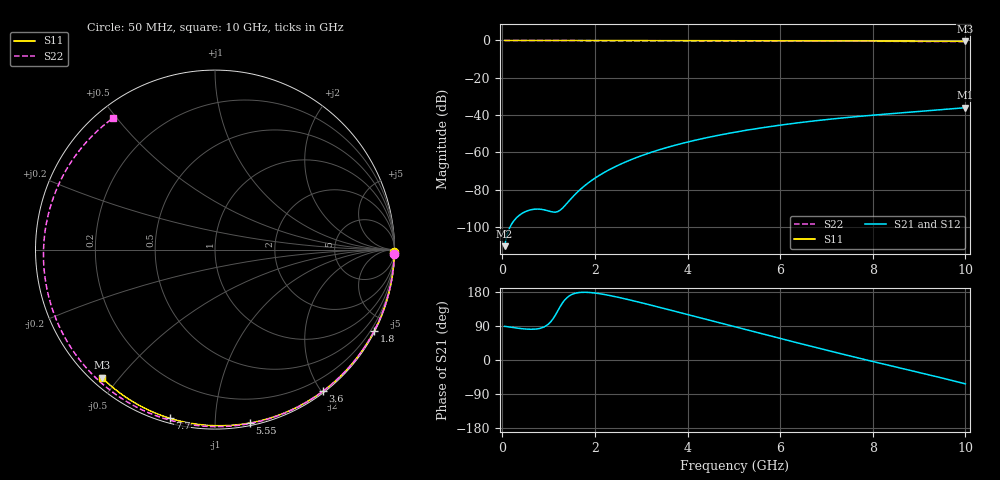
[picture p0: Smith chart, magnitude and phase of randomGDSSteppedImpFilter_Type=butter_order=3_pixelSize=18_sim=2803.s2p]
! freq	dB(S11)	phase(S11)	dB(S12)	phase(S12)
!  dB(S21)	phase(S21)	dB(S22)	phase(S22)
!S-par simulation data
#  GHz  S  DB  R 50
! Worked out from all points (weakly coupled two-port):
!   200 points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, 50 MHz to 10 GHz, reference 50 ohm
!   highest |S21| = -36.09 dB at 10 GHz (marker M1); lowest = -110.4 dB at 50 MHz (marker M2)
!   lowest |S11| = -0.4 dB at 10 GHz (marker M3), VSWR 40.22, Z = 1.5 - j22.5 ohm
!   |S11| at or under -10 dB: nowhere
!   |S22| runs from -0.7 to 0.0 dB; largest |S21 - S12| = 0
!   S11 on the Smith chart (normalised r, x): 50 MHz: open; 1.8 GHz: 0.04, -4.17; 3.6 GHz: 0.02, -2.02; 5.55 GHz: 0.02, -1.22; 7.7 GHz: 0.02, -0.77; 10 GHz: 0.03, -0.45
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0.05  -0.00 -0.8  -110.41 88.9  -110.41 88.9  -0.00 -1.3
0.8  -0.02 -12.1  -90.54 83.1  -90.54 83.1  -0.03 -20.8
1.65  -0.03 -24.7  -80.75 177.9  -80.75 177.9  -0.05 -42.4
1.7  -0.03 -25.5  -79.62 178.5  -79.62 178.5  -0.06 -43.6
1.75  -0.03 -26.2  -78.55 178.7  -78.55 178.7  -0.06 -44.9
1.8  -0.03 -27.0  -77.54 178.7  -77.54 178.7  -0.06 -46.1
2.1  -0.04 -31.3  -72.34 175.0  -72.34 175.0  -0.07 -53.5
2.5  -0.05 -37.1  -67.02 165.6  -67.02 165.6  -0.08 -63.2
2.9  -0.06 -42.9  -62.82 154.2  -62.82 154.2  -0.09 -72.6
3.4  -0.07 -49.9  -58.59 138.9  -58.59 138.9  -0.11 -84.2
3.6  -0.07 -52.7  -57.13 132.6  -57.13 132.6  -0.12 -88.7
4.3  -0.09 -62.3  -52.80 110.4  -52.80 110.4  -0.14 -104.2
5.05  -0.11 -72.2  -49.13 86.7  -49.13 86.7  -0.18 -120.3
5.55  -0.13 -78.7  -47.08 71.0  -47.08 71.0  -0.21 -130.9
6.15  -0.15 -86.3  -44.96 52.2  -44.96 52.2  -0.25 -143.4
6.7  -0.18 -93.1  -43.28 35.2  -43.28 35.2  -0.29 -155.0
7.2  -0.21 -99.2  -41.95 19.9  -41.95 19.9  -0.33 -165.6
7.7  -0.24 -105.1  -40.76 4.9  -40.76 4.9  -0.38 -176.5
8.35  -0.29 -112.7  -39.38 -14.2  -39.38 -14.2  -0.45 168.9
8.8  -0.32 -117.9  -38.49 -27.2  -38.49 -27.2  -0.50 158.3
9.2  -0.36 -122.4  -37.70 -38.8  -37.70 -38.8  -0.55 148.6
10  -0.43 -131.4  -36.09 -63.0  -36.09 -63.0  -0.66 127.8
